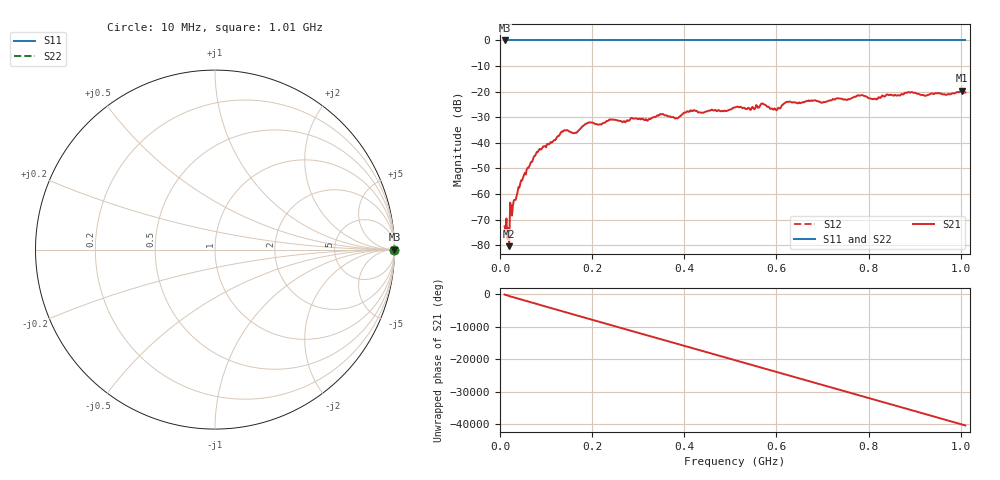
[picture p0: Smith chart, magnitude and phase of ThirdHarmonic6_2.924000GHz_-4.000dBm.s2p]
! 8/17/2025 8:08:42 AM
! C:\ANRITSUVNA\TEMP\TEMP.S2P
! CHANNEL.1
! TR.MEASUREMENT
! RAW.DATA
! RF.CORRECTION.OFF
! AVERAGING.OFF
! IF.BANDWIDTH: 5KHZ
! SWEEPTYPE:  FREQ.SWEEP(Linear)
! Reference Plane Port Info
! PORT:  PORT1  PORT2
! DISTANCE:  0  m  0  m
! TIME:  0  s  0  s
! PHASE.OFFSET:  0  deg.  0  deg.
! LOSS:  0  dB  0  dB
! REF.LOSS:  0  dB  0  dB
! REF.FREQ:  0  Hz  0  Hz
! Power Info
! POWER:  -20  dBm  -20  dBm
! EFF.POWER:  -20  dBm  -20  dBm
! SOURCE.ATTEN:  0  dB  0  dB
! TEST.ATTEN:  0  dB  0  dB
# GHZ S RI R 50.0
! FREQ.GHZ  S11RE  S11IM  S21RE  S21IM  S12RE  S12IM  S22RE  S22IM
!; PortSelection: Port_12
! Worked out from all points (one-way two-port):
!   501 points, 10 MHz to 1.01 GHz, reference 50 ohm
!   highest |S21| = -19.61 dB at 1.002 GHz (marker M1); lowest = -80.3 dB at 20 MHz (marker M2)
!   lowest |S11| = 0.0 dB at 10 MHz (marker M3)
!   |S11| at or under -10 dB: nowhere
!   |S22| runs from 0.0 to 0.0 dB; largest |S21 - S12| = 1.1
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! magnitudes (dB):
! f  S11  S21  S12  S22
! 10 MHz  0.0  -72.6  0.0  0.0
! 16 MHz  0.0  -77.5  0.0  0.0
! 20 MHz  0.0  -80.3  0.0  0.0
! 26 MHz  0.0  -68.4  0.0  0.0
! 44 MHz  0.0  -55.8  0.0  0.0
! 82 MHz  0.0  -43.5  0.0  0.0
! 136 MHz  0.0  -35.7  0.0  0.0
! 162 MHz  0.0  -36.2  0.0  0.0
! 178 MHz  0.0  -33.7  0.0  0.0
! 194 MHz  0.0  -31.9  0.0  0.0
! 318 MHz  0.0  -31.1  0.0  0.0
! 344 MHz  0.0  -29.4  0.0  0.0
! 382 MHz  0.0  -30.3  0.0  0.0
! 410 MHz  0.0  -27.9  0.0  0.0
! 510 MHz  0.0  -26.2  0.0  0.0
! 570 MHz  0.0  -24.6  0.0  0.0
! 598 MHz  0.0  -26.9  0.0  0.0
! 624 MHz  0.0  -24.0  0.0  0.0
! 678 MHz  0.0  -23.6  0.0  0.0
! 844 MHz  0.0  -21.3  0.0  0.0
! 1.002 GHz  0.0  -19.6  0.0  0.0
! 1.01 GHz  0.0  -20.3  0.0  0.0
